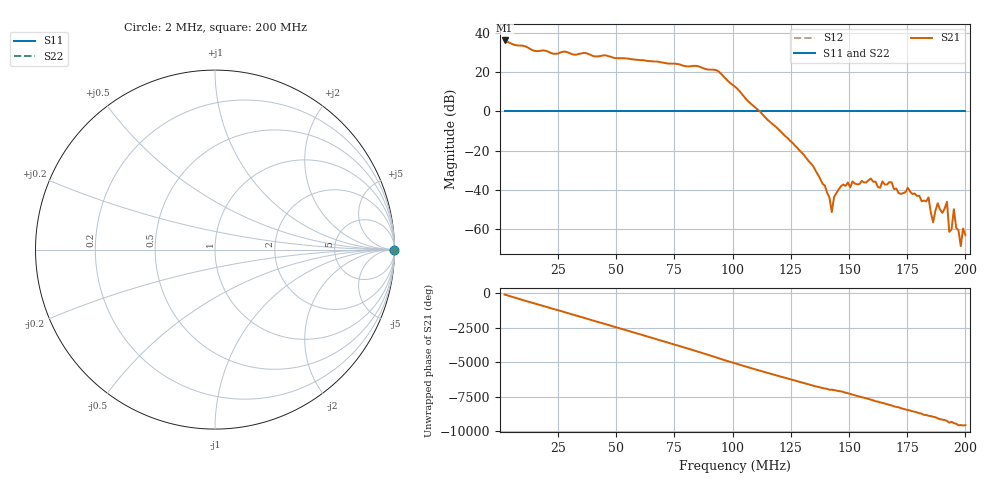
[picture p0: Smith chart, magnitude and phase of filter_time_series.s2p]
!Agilent N9923A: A.05.34
!Date: Wednesday, 25 June 2025 10:50:26
!Model: N9923A
!Serial: MY51491492
!GPS Latitude:
!GPS Longitude:
!GPS TimeStamp: 0001-01-01 00:00:00Z
!GPS Seconds Since Last Read: 0
!CHECKSUM:1124490689
!Correction: S11()S21(Rdy)S12()S22()
!S2P File: Measurements:S11,S21,S12,S22:
# Hz S DB R 50
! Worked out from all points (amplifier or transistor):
!   201 points, 2 MHz to 200 MHz, reference 50 ohm
!   highest |S21| = 36.3 dB at 2 MHz (marker M1)
!   |S21| within 3 dB of that: start of sweep to 10.84 MHz
!   unconditionally stable (mu >= 1): nowhere
!   at 34.67 MHz: K = 14.74, MSG = 14.8 dB, |S12| = 0.0 dB
!   at 101 MHz: K = 1.53, MSG = 6.3 dB, |S12| = 0.0 dB
!   at 200 MHz: K = 0.93, MSG = -31.6 dB, |S12| = 0.0 dB
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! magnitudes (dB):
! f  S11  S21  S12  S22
! 2 MHz  0.0  36.3  0.0  0.0
! 35.66 MHz  0.0  29.8  0.0  0.0
! 68.33 MHz  0.0  25.3  0.0  0.0
! 93.08 MHz  0.0  21.0  0.0  0.0
! 101 MHz  0.0  12.6  0.0  0.0
! 134.7 MHz  0.0  -28.1  0.0  0.0
! 139.6 MHz  0.0  -37.9  0.0  0.0
! 142.6 MHz  0.0  -51.5  0.0  0.0
! 143.6 MHz  0.0  -43.8  0.0  0.0
! 147.5 MHz  0.0  -37.4  0.0  0.0
! 167.3 MHz  0.0  -36.1  0.0  0.0
! 184.2 MHz  0.0  -44.0  0.0  0.0
! 186.1 MHz  0.0  -56.7  0.0  0.0
! 188.1 MHz  0.0  -46.9  0.0  0.0
! 190.1 MHz  0.0  -51.9  0.0  0.0
! 192.1 MHz  0.0  -46.2  0.0  0.0
! 193.1 MHz  0.0  -61.6  0.0  0.0
! 194.1 MHz  0.0  -60.3  0.0  0.0
! 195.1 MHz  0.0  -50.0  0.0  0.0
! 198 MHz  0.0  -68.9  0.0  0.0
! 199 MHz  0.0  -59.9  0.0  0.0
! 200 MHz  0.0  -63.1  0.0  0.0
